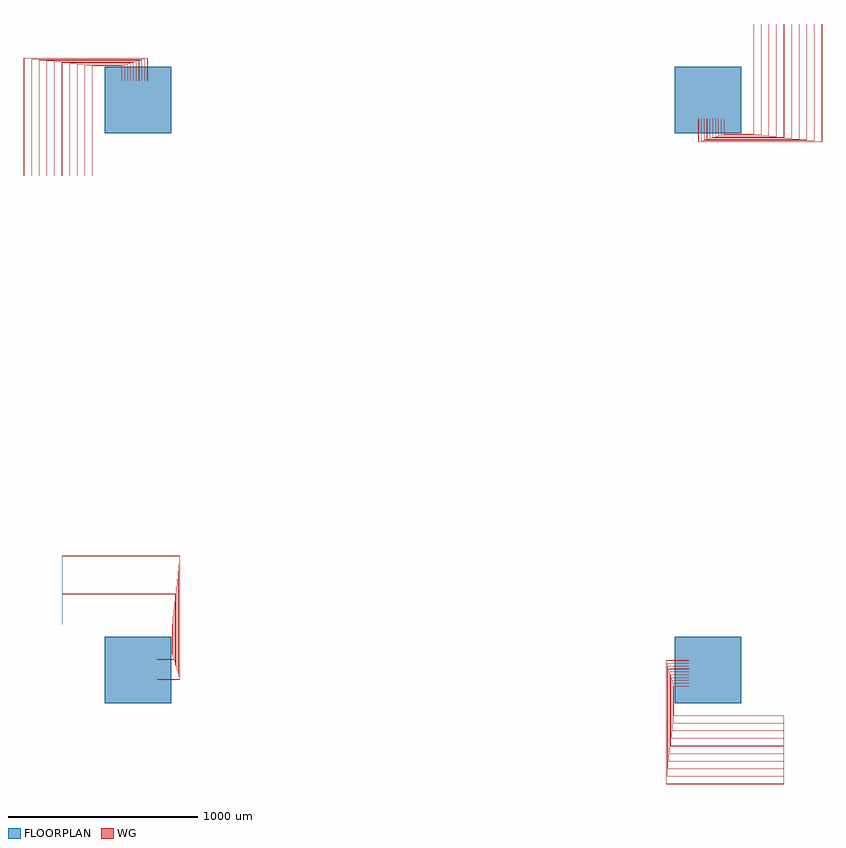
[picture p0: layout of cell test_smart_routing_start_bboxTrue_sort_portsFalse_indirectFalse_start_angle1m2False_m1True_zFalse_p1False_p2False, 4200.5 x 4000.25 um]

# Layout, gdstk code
import gdstk
lib = gdstk.Library(unit=1e-6, precision=1e-09)
def R(c, l, rs):  # rectangles x0, y0, x1, y1
    for r in rs: c.add(gdstk.rectangle(r[:2], r[2:], *l))
def P(c, l, *ps):  # polygons
    for p in ps: c.add(gdstk.Polygon(p, *l))
WG = (1, 0)
FLOORPLAN = (10, 0)

test_smart_routing_start = lib.new_cell('test_smart_routing_start_bboxTrue_sort_portsFalse_indirectFalse_start_angle1m2False_m1True_zFalse_p1False_p2False')
P(test_smart_routing_start, WG, [(100,-50.25),(100,-49.75),(219.5,-49.75),(219.5,599.75),(-400,599.75),(-400,600.25),(220,600.25),(220,-50.25)],
  [(100,-35.25),(100,-34.75),(215,-34.75),(215,559.75),(-400,559.75),(-400,560.25),(215.5,560.25),(215.5,-35.25)],
  [(100,-20.25),(100,-19.75),(210.5,-19.75),(210.5,519.75),(-400,519.75),(-400,520.25),(211,520.25),(211,-20.25)],
  [(100,-5.25),(100,-4.75),(206,-4.75),(206,479.75),(-400,479.75),(-400,480.25),(206.5,480.25),(206.5,-5.25)],
  [(100,9.75),(100,10.25),(201.5,10.25),(201.5,439.75),(-400,439.75),(-400,440.25),(202,440.25),(202,9.75)],
  [(100,24.75),(100,25.25),(197,25.25),(197,399.75),(-400,399.75),(-400,400.25),(197.5,400.25),(197.5,24.75)],
  [(100,39.75),(100,40.25),(192.5,40.25),(192.5,359.75),(-400,359.75),(-400,360.25),(193,360.25),(193,39.75)],
  [(100,54.75),(100,55.25),(188,55.25),(188,319.75),(-400,319.75),(-400,320.25),(188.5,320.25),(188.5,54.75)],
  [(100,69.75),(100,70.25),(183.5,70.25),(183.5,279.75),(-400,279.75),(-400,280.25),(184,280.25),(184,69.75)],
  [(100,84.75),(100,85.25),(179,85.25),(179,239.75),(-400,239.75),(-400,240.25),(179.5,240.25),(179.5,84.75)],
  [(-600.25,2600),(-600.25,3220),(50.25,3220),(50.25,3100),(49.75,3100),(49.75,3219.5),(-599.75,3219.5),(-599.75,2600)],
  [(-560.25,2600),(-560.25,3215.5),(35.25,3215.5),(35.25,3100),(34.75,3100),(34.75,3215),(-559.75,3215),(-559.75,2600)],
  [(-520.25,2600),(-520.25,3211),(20.25,3211),(20.25,3100),(19.75,3100),(19.75,3210.5),(-519.75,3210.5),(-519.75,2600)],
  [(-480.25,2600),(-480.25,3206.5),(5.25,3206.5),(5.25,3100),(4.75,3100),(4.75,3206),(-479.75,3206),(-479.75,2600)],
  [(-440.25,2600),(-440.25,3202),(-9.75,3202),(-9.75,3100),(-10.25,3100),(-10.25,3201.5),(-439.75,3201.5),(-439.75,2600)],
  [(-400.25,2600),(-400.25,3197.5),(-24.75,3197.5),(-24.75,3100),(-25.25,3100),(-25.25,3197),(-399.75,3197),(-399.75,2600)],
  [(-360.25,2600),(-360.25,3193),(-39.75,3193),(-39.75,3100),(-40.25,3100),(-40.25,3192.5),(-359.75,3192.5),(-359.75,2600)],
  [(-320.25,2600),(-320.25,3188.5),(-54.75,3188.5),(-54.75,3100),(-55.25,3100),(-55.25,3188),(-319.75,3188),(-319.75,2600)],
  [(-280.25,2600),(-280.25,3184),(-69.75,3184),(-69.75,3100),(-70.25,3100),(-70.25,3183.5),(-279.75,3183.5),(-279.75,2600)],
  [(-240.25,2600),(-240.25,3179.5),(-84.75,3179.5),(-84.75,3100),(-85.25,3100),(-85.25,3179),(-239.75,3179),(-239.75,2600)],
  [(2780,-600.25),(2780,50.25),(2900,50.25),(2900,49.75),(2780.5,49.75),(2780.5,-599.75),(3400,-599.75),(3400,-600.25)],
  [(2784.5,-560.25),(2784.5,35.25),(2900,35.25),(2900,34.75),(2785,34.75),(2785,-559.75),(3400,-559.75),(3400,-560.25)],
  [(2789,-520.25),(2789,20.25),(2900,20.25),(2900,19.75),(2789.5,19.75),(2789.5,-519.75),(3400,-519.75),(3400,-520.25)],
  [(2793.5,-480.25),(2793.5,5.25),(2900,5.25),(2900,4.75),(2794,4.75),(2794,-479.75),(3400,-479.75),(3400,-480.25)],
  [(2798,-440.25),(2798,-9.75),(2900,-9.75),(2900,-10.25),(2798.5,-10.25),(2798.5,-439.75),(3400,-439.75),(3400,-440.25)],
  [(2802.5,-400.25),(2802.5,-24.75),(2900,-24.75),(2900,-25.25),(2803,-25.25),(2803,-399.75),(3400,-399.75),(3400,-400.25)],
  [(2807,-360.25),(2807,-39.75),(2900,-39.75),(2900,-40.25),(2807.5,-40.25),(2807.5,-359.75),(3400,-359.75),(3400,-360.25)],
  [(2811.5,-320.25),(2811.5,-54.75),(2900,-54.75),(2900,-55.25),(2812,-55.25),(2812,-319.75),(3400,-319.75),(3400,-320.25)],
  [(2816,-280.25),(2816,-69.75),(2900,-69.75),(2900,-70.25),(2816.5,-70.25),(2816.5,-279.75),(3400,-279.75),(3400,-280.25)],
  [(2820.5,-240.25),(2820.5,-84.75),(2900,-84.75),(2900,-85.25),(2821,-85.25),(2821,-239.75),(3400,-239.75),(3400,-240.25)],
  [(2949.75,2780),(2949.75,2900),(2950.25,2900),(2950.25,2780.5),(3599.75,2780.5),(3599.75,3400),(3600.25,3400),(3600.25,2780)],
  [(2964.75,2784.5),(2964.75,2900),(2965.25,2900),(2965.25,2785),(3559.75,2785),(3559.75,3400),(3560.25,3400),(3560.25,2784.5)],
  [(2979.75,2789),(2979.75,2900),(2980.25,2900),(2980.25,2789.5),(3519.75,2789.5),(3519.75,3400),(3520.25,3400),(3520.25,2789)],
  [(2994.75,2793.5),(2994.75,2900),(2995.25,2900),(2995.25,2794),(3479.75,2794),(3479.75,3400),(3480.25,3400),(3480.25,2793.5)],
  [(3009.75,2798),(3009.75,2900),(3010.25,2900),(3010.25,2798.5),(3439.75,2798.5),(3439.75,3400),(3440.25,3400),(3440.25,2798)],
  [(3024.75,2802.5),(3024.75,2900),(3025.25,2900),(3025.25,2803),(3399.75,2803),(3399.75,3400),(3400.25,3400),(3400.25,2802.5)],
  [(3039.75,2807),(3039.75,2900),(3040.25,2900),(3040.25,2807.5),(3359.75,2807.5),(3359.75,3400),(3360.25,3400),(3360.25,2807)],
  [(3054.75,2811.5),(3054.75,2900),(3055.25,2900),(3055.25,2812),(3319.75,2812),(3319.75,3400),(3320.25,3400),(3320.25,2811.5)],
  [(3069.75,2816),(3069.75,2900),(3070.25,2900),(3070.25,2816.5),(3279.75,2816.5),(3279.75,3400),(3280.25,3400),(3280.25,2816)],
  [(3084.75,2820.5),(3084.75,2900),(3085.25,2900),(3085.25,2821),(3239.75,2821),(3239.75,3400),(3240.25,3400),(3240.25,2820.5)])
R(test_smart_routing_start, FLOORPLAN, [(-175,-175,175,175), (2825,-175,3175,175), (-175,2825,175,3175), (2825,2825,3175,3175)])
P(test_smart_routing_start, FLOORPLAN, [(-400,240),(-400,600),(-400,600),(-400,240)],
  [(-600,2600),(-600,2600),(-240,2600),(-240,2600)],
  [(3400,-600),(3400,-240),(3400,-240),(3400,-600)],
  [(3240,3400),(3240,3400),(3600,3400),(3600,3400)])

lib.write_gds('test_smart_routing_start_bboxTrue_sort_portsFalse_indirectFalse_start_angle1m2False_m1True_zFalse_p1False_p2False.gds')
